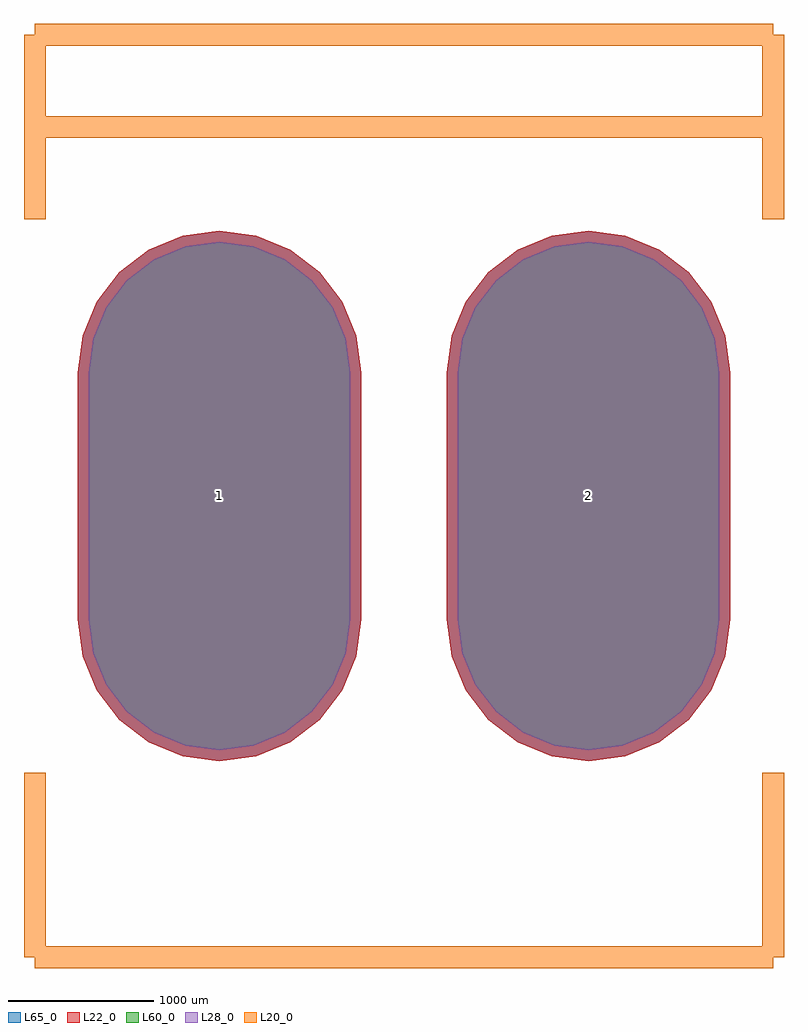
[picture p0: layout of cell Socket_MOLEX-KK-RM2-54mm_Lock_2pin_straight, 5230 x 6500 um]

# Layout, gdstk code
import gdstk
lib = gdstk.Library(unit=1e-6, precision=1e-09)
def P(c, l, *ps):  # polygons
    for p in ps: c.add(gdstk.Polygon(p, *l))
L20_0 = (20, 0)
L22_0 = (22, 0)
L28_0 = (28, 0)
L60_0 = (60, 0)
L65_0 = (65, 0)

socket_molex_kk_rm2_54mm = lib.new_cell('Socket_MOLEX-KK-RM2-54mm_Lock_2pin_straight')
P(socket_molex_kk_rm2_54mm, L22_0, [(1270,-1825.06),(1522.46,-1791.823),(1757.715,-1694.377),(1959.733,-1539.363),(2114.747,-1337.345),(2212.193,-1102.09),(2245.43,-849.63),(2245.43,849.63),(2212.193,1102.09),(2114.747,1337.345),(1959.733,1539.363),(1757.715,1694.377),(1522.46,1791.823),(1270,1825.06),(1017.54,1791.823),(782.285,1694.377),(580.267,1539.363),(425.253,1337.345),(327.807,1102.09),(294.57,849.63),(294.57,-849.63),(327.807,-1102.09),(425.253,-1337.345),(580.267,-1539.363),(782.285,-1694.377),(1017.54,-1791.823)],
  [(-1270,-1825.06),(-1017.54,-1791.823),(-782.285,-1694.377),(-580.267,-1539.363),(-425.253,-1337.345),(-327.807,-1102.09),(-294.57,-849.63),(-294.57,849.63),(-327.807,1102.09),(-425.253,1337.345),(-580.267,1539.363),(-782.285,1694.377),(-1017.54,1791.823),(-1270,1825.06),(-1522.46,1791.823),(-1757.715,1694.377),(-1959.733,1539.363),(-2114.747,1337.345),(-2212.193,1102.09),(-2245.43,849.63),(-2245.43,-849.63),(-2212.193,-1102.09),(-2114.747,-1337.345),(-1959.733,-1539.363),(-1757.715,-1694.377),(-1522.46,-1791.823)])
P(socket_molex_kk_rm2_54mm, L28_0, [(1270,-1750.06),(1503.048,-1719.379),(1720.215,-1629.425),(1906.7,-1486.33),(2049.795,-1299.845),(2139.749,-1082.678),(2170.43,-849.63),(2170.43,849.63),(2139.749,1082.678),(2049.795,1299.845),(1906.7,1486.33),(1720.215,1629.425),(1503.048,1719.379),(1270,1750.06),(1036.952,1719.379),(819.785,1629.425),(633.3,1486.33),(490.205,1299.845),(400.251,1082.678),(369.57,849.63),(369.57,-849.63),(400.251,-1082.678),(490.205,-1299.845),(633.3,-1486.33),(819.785,-1629.425),(1036.952,-1719.379)],
  [(-1270,-1750.06),(-1036.952,-1719.379),(-819.785,-1629.425),(-633.3,-1486.33),(-490.205,-1299.845),(-400.251,-1082.678),(-369.57,-849.63),(-369.57,849.63),(-400.251,1082.678),(-490.205,1299.845),(-633.3,1486.33),(-819.785,1629.425),(-1036.952,1719.379),(-1270,1750.06),(-1503.048,1719.379),(-1720.215,1629.425),(-1906.7,1486.33),(-2049.795,1299.845),(-2139.749,1082.678),(-2170.43,849.63),(-2170.43,-849.63),(-2139.749,-1082.678),(-2049.795,-1299.845),(-1906.7,-1486.33),(-1720.215,-1629.425),(-1503.048,-1719.379)])
P(socket_molex_kk_rm2_54mm, L60_0, [(1270,-1750.06),(1503.048,-1719.379),(1720.215,-1629.425),(1906.7,-1486.33),(2049.795,-1299.845),(2139.749,-1082.678),(2170.43,-849.63),(2170.43,849.63),(2139.749,1082.678),(2049.795,1299.845),(1906.7,1486.33),(1720.215,1629.425),(1503.048,1719.379),(1270,1750.06),(1036.952,1719.379),(819.785,1629.425),(633.3,1486.33),(490.205,1299.845),(400.251,1082.678),(369.57,849.63),(369.57,-849.63),(400.251,-1082.678),(490.205,-1299.845),(633.3,-1486.33),(819.785,-1629.425),(1036.952,-1719.379)],
  [(-1270,-1750.06),(-1036.952,-1719.379),(-819.785,-1629.425),(-633.3,-1486.33),(-490.205,-1299.845),(-400.251,-1082.678),(-369.57,-849.63),(-369.57,849.63),(-400.251,1082.678),(-490.205,1299.845),(-633.3,1486.33),(-819.785,1629.425),(-1036.952,1719.379),(-1270,1750.06),(-1503.048,1719.379),(-1720.215,1629.425),(-1906.7,1486.33),(-2049.795,1299.845),(-2139.749,1082.678),(-2170.43,849.63),(-2170.43,-849.63),(-2139.749,-1082.678),(-2049.795,-1299.845),(-1906.7,-1486.33),(-1720.215,-1629.425),(-1503.048,-1719.379)])
P(socket_molex_kk_rm2_54mm, L65_0, [(1270,-1825.06),(1522.46,-1791.823),(1757.715,-1694.377),(1959.733,-1539.363),(2114.747,-1337.345),(2212.193,-1102.09),(2245.43,-849.63),(2245.43,849.63),(2212.193,1102.09),(2114.747,1337.345),(1959.733,1539.363),(1757.715,1694.377),(1522.46,1791.823),(1270,1825.06),(1017.54,1791.823),(782.285,1694.377),(580.267,1539.363),(425.253,1337.345),(327.807,1102.09),(294.57,849.63),(294.57,-849.63),(327.807,-1102.09),(425.253,-1337.345),(580.267,-1539.363),(782.285,-1694.377),(1017.54,-1791.823)],
  [(-1270,-1825.06),(-1017.54,-1791.823),(-782.285,-1694.377),(-580.267,-1539.363),(-425.253,-1337.345),(-327.807,-1102.09),(-294.57,-849.63),(-294.57,849.63),(-327.807,1102.09),(-425.253,1337.345),(-580.267,1539.363),(-782.285,1694.377),(-1017.54,1791.823),(-1270,1825.06),(-1522.46,1791.823),(-1757.715,1694.377),(-1959.733,1539.363),(-2114.747,1337.345),(-2212.193,1102.09),(-2245.43,849.63),(-2245.43,-849.63),(-2212.193,-1102.09),(-2114.747,-1337.345),(-1959.733,-1539.363),(-1757.715,-1694.377),(-1522.46,-1791.823)])
socket_molex_kk_rm2_54mm.add(gdstk.FlexPath([(-2540,-3175),(-2540,-2540)], 149.998, ends="flush", simple_path=True, layer=20, datatype=0))  # L20_0
socket_molex_kk_rm2_54mm.add(gdstk.FlexPath([(2540,-3175),(-2540,-3175)], 149.998, ends="flush", simple_path=True, layer=20, datatype=0))  # L20_0
socket_molex_kk_rm2_54mm.add(gdstk.FlexPath([(2540,3175),(2540,2540)], 149.998, ends="flush", simple_path=True, layer=20, datatype=0))  # L20_0
socket_molex_kk_rm2_54mm.add(gdstk.FlexPath([(-2540,3175),(2540,3175)], 149.998, ends="flush", simple_path=True, layer=20, datatype=0))  # L20_0
socket_molex_kk_rm2_54mm.add(gdstk.FlexPath([(-2540,2540),(-2540,3175)], 149.998, ends="flush", simple_path=True, layer=20, datatype=0))  # L20_0
socket_molex_kk_rm2_54mm.add(gdstk.FlexPath([(-2540,2540),(-2540,1905)], 149.998, ends="flush", simple_path=True, layer=20, datatype=0))  # L20_0
socket_molex_kk_rm2_54mm.add(gdstk.FlexPath([(-2540,-2540),(-2540,-1905)], 149.998, ends="flush", simple_path=True, layer=20, datatype=0))  # L20_0
socket_molex_kk_rm2_54mm.add(gdstk.FlexPath([(2540,2540),(2540,1905)], 149.998, ends="flush", simple_path=True, layer=20, datatype=0))  # L20_0
socket_molex_kk_rm2_54mm.add(gdstk.FlexPath([(2540,-3175),(2540,-1905)], 149.998, ends="flush", simple_path=True, layer=20, datatype=0))  # L20_0
socket_molex_kk_rm2_54mm.add(gdstk.FlexPath([(-2540,2540),(2540,2540)], 149.998, ends="flush", simple_path=True, layer=20, datatype=0))  # L20_0
socket_molex_kk_rm2_54mm.add(gdstk.Label('2', (1270,0), layer=28, texttype=0))
socket_molex_kk_rm2_54mm.add(gdstk.Label('1', (-1270,0), layer=28, texttype=0))
socket_molex_kk_rm2_54mm.add(gdstk.Label('type', (-635,-5080), layer=9, texttype=0))
socket_molex_kk_rm2_54mm.add(gdstk.Label('devicename', (0,4445), layer=9, texttype=0))

lib.write_gds('Socket_MOLEX-KK-RM2-54mm_Lock_2pin_straight.gds')
